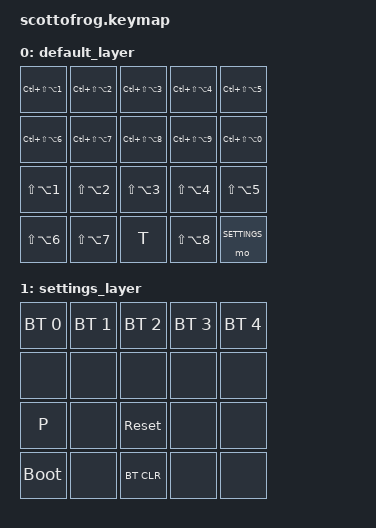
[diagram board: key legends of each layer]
#include <behaviors.dtsi>
#include <dt-bindings/zmk/keys.h>
#include <dt-bindings/zmk/bt.h>

#define DEFAULT 0
#define SETTINGS 1

#define COMBO_TIMEOUT 50

/ {
 
    keymap {
        compatible = "zmk,keymap";

        default_layer {
            bindings = <
                          &kp LC(LS(LA(N1)))    &kp LC(LS(LA(N2)))    &kp LC(LS(LA(N3)))    &kp LC(LS(LA(N4)))    &kp LC(LS(LA(N5))) 
                          &kp LC(LS(LA(N6)))    &kp LC(LS(LA(N7)))    &kp LC(LS(LA(N8)))    &kp LC(LS(LA(N9)))    &kp LC(LS(LA(N0))) 
                          &kp LS(LA(N1))        &kp LS(LA(N2))        &kp LS(LA(N3))        &kp LS(LA(N4))        &kp LS(LA(N5)) 
                &kp LS(LA(N6))            &kp LS(LA(N7))              &kp T                       &kp LS(LA(N8))             &mo SETTINGS
            >;
        };
        
        settings_layer {
            bindings = <
                            &bt BT_SEL 0 &bt BT_SEL 1 &bt BT_SEL 2 &bt BT_SEL 3 &bt BT_SEL 4
                            &none        &none        &none        &none        &none 
                            &kp P        &none        &sys_reset   &none        &none 
                &bootloader &none                     &bt BT_CLR                    &none        &none
            >;
        };
    };
};
